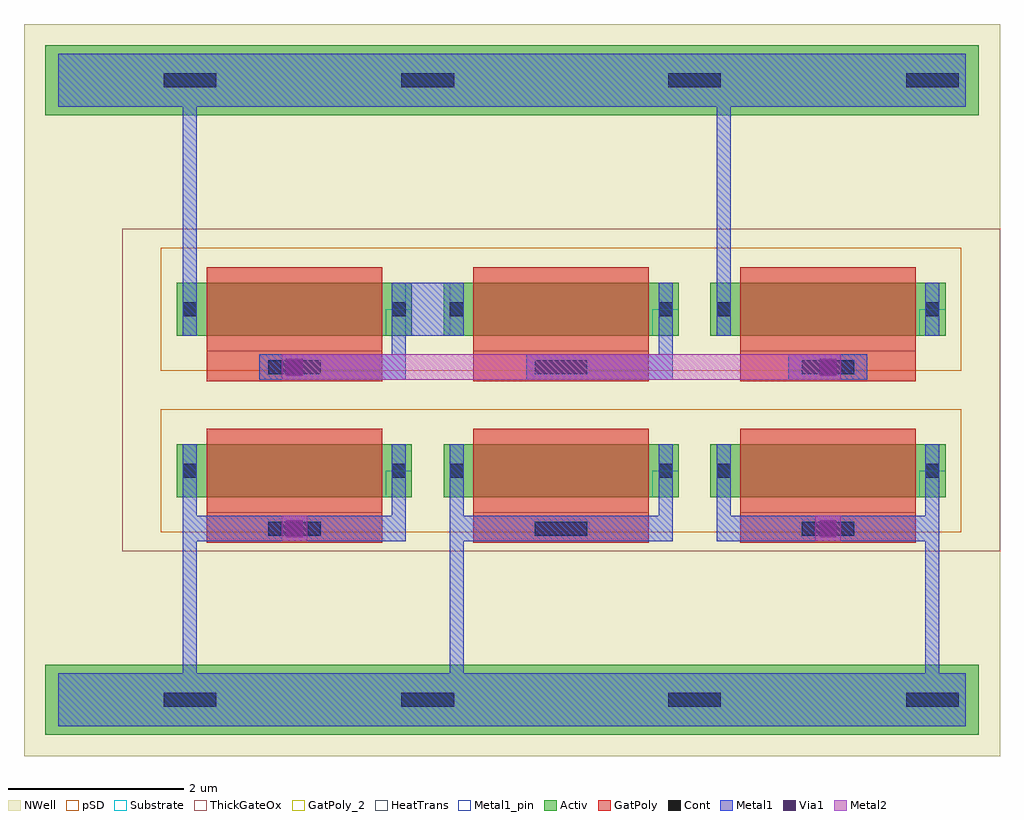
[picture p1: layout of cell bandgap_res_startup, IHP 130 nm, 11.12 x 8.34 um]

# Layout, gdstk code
import gdstk
lib = gdstk.Library(unit=1e-6, precision=1e-09)
def R(c, l, rs):  # rectangles x0, y0, x1, y1
    for r in rs: c.add(gdstk.rectangle(r[:2], r[2:], *l))
def A(c, l, x, y, w, h, nx, ny, dx, dy):  # array of equal rectangles
    R(c, l, [(x+i*dx, y+j*dy, x+i*dx+w, y+j*dy+h) for i in range(nx) for j in range(ny)])
Activ = (1, 0)
GatPoly = (5, 0)
GatPoly_2 = (5, 2)
Cont = (6, 0)
Metal1 = (8, 0)
Metal1_pin = (8, 2)
Metal2 = (10, 0)
pSD = (14, 0)
Via1 = (19, 0)
NWell = (31, 0)
Substrate = (40, 0)
ThickGateOx = (44, 0)
HeatTrans = (51, 0)

pmoshv_6 = lib.new_cell('pmosHV$6')
R(pmoshv_6, Activ, [(0,0,0.3,0.3), (0,0,2.68,0.6), (2.38,0,2.68,0.3)])
R(pmoshv_6, GatPoly, [(0.34,-0.18,2.34,0.78)])
R(pmoshv_6, GatPoly_2, [(0.34,-0.18,2.34,0.78)])
R(pmoshv_6, Cont, [(0.07,0.22,0.23,0.38), (2.45,0.22,2.61,0.38)])
R(pmoshv_6, Metal1, [(0.07,0,0.23,0.6), (2.45,0,2.61,0.6)])
R(pmoshv_6, Metal1_pin, [(0.07,0,0.23,0.6), (2.45,0,2.61,0.6)])
R(pmoshv_6, pSD, [(-0.18,-0.4,2.86,1)])
R(pmoshv_6, NWell, [(-0.62,-0.62,3.3,1.22)])
R(pmoshv_6, Substrate, [(2.38,0,2.68,0.3)])
R(pmoshv_6, ThickGateOx, [(-0.62,-0.62,3.3,1.22)])
R(pmoshv_6, HeatTrans, [(0.34,-0.18,2.34,0.78)])
pmoshv_6.add(gdstk.Label('pmosHV', (1.34,0.3), layer=63, texttype=0))
pmoshv_6.add(gdstk.Label('pmos', (1.34,0.3), layer=51, texttype=0))

via_stack_1 = lib.new_cell('via_stack$1')
R(via_stack_1, Metal1, [(-0.145,-0.145,0.145,0.145)])
R(via_stack_1, Metal2, [(-0.145,-0.145,0.145,0.145)])
R(via_stack_1, Via1, [(-0.095,-0.095,0.095,0.095)])

bandgap_res_startup = lib.new_cell('bandgap_res_startup')
A(bandgap_res_startup, Cont, 2.78, 13.38, 0.6, 0.16, 3, 2, 3.04, 1.84)
R(bandgap_res_startup, Cont, [(1.59,11.43,2.19,11.59), (1.59,11.43,2.19,11.59), (4.3,11.43,4.9,11.59), (4.3,11.43,4.9,11.59), (7.34,11.43,7.94,11.59), (7.34,11.43,7.94,11.59), (10.05,11.43,10.65,11.59), (10.05,11.43,10.65,11.59), (1.59,18.49,2.19,18.65), (1.59,18.49,2.19,18.65), (4.3,18.49,4.9,18.65), (4.3,18.49,4.9,18.65), (7.34,18.49,7.94,18.65), (7.34,18.49,7.94,18.65), (10.05,18.49,10.65,18.65), (10.05,18.49,10.65,18.65)])
R(bandgap_res_startup, NWell, [(0,10.87,1.12,19.21), (1.12,10.87,11.12,13.2), (1.12,10.87,11.12,13.2), (1.12,16.88,11.12,19.21), (1.12,16.88,11.12,19.21)])
bandgap_res_startup.add(gdstk.FlexPath([(0.24,18.57),(10.88,18.57)], 0.8, ends="flush", simple_path=True, layer=1, datatype=0))  # Activ
bandgap_res_startup.add(gdstk.FlexPath([(0.24,11.51),(10.88,11.51)], 0.8, ends="flush", simple_path=True, layer=1, datatype=0))  # Activ
bandgap_res_startup.add(gdstk.FlexPath([(3.08,16.44),(3.08,15.14)], 2, ends="flush", simple_path=True, layer=5, datatype=0))  # GatPoly
bandgap_res_startup.add(gdstk.FlexPath([(6.12,16.44),(6.12,15.14)], 2, ends="flush", simple_path=True, layer=5, datatype=0))  # GatPoly
bandgap_res_startup.add(gdstk.FlexPath([(9.16,16.44),(9.16,15.14)], 2, ends="flush", simple_path=True, layer=5, datatype=0))  # GatPoly
bandgap_res_startup.add(gdstk.FlexPath([(3.08,14.6),(3.08,13.3)], 2, ends="flush", simple_path=True, layer=5, datatype=0))  # GatPoly
bandgap_res_startup.add(gdstk.FlexPath([(6.12,14.6),(6.12,13.3)], 2, ends="flush", simple_path=True, layer=5, datatype=0))  # GatPoly
bandgap_res_startup.add(gdstk.FlexPath([(9.16,14.6),(9.16,13.3)], 2, ends="flush", simple_path=True, layer=5, datatype=0))  # GatPoly
bandgap_res_startup.add(gdstk.FlexPath([(4.19,15.96),(5.01,15.96)], 0.6, ends="flush", simple_path=True, layer=8, datatype=0))  # Metal1
bandgap_res_startup.add(gdstk.FlexPath([(2.68,15.3),(4.35,15.3)], 0.29, ends="flush", simple_path=True, layer=8, datatype=0))  # Metal1
bandgap_res_startup.add(gdstk.FlexPath([(5.72,15.3),(7.39,15.3)], 0.29, ends="flush", simple_path=True, layer=8, datatype=0))  # Metal1
bandgap_res_startup.add(gdstk.FlexPath([(7.31,16.26),(7.31,15.155)], 0.16, ends="flush", simple_path=True, layer=8, datatype=0))  # Metal1
bandgap_res_startup.add(gdstk.FlexPath([(8.71,15.3),(9.61,15.3)], 0.29, ends="flush", simple_path=True, layer=8, datatype=0))  # Metal1
bandgap_res_startup.add(gdstk.FlexPath([(1.89,15.66),(1.89,18.87)], 0.16, ends="flush", simple_path=True, layer=8, datatype=0))  # Metal1
bandgap_res_startup.add(gdstk.FlexPath([(7.97,15.66),(7.97,18.87)], 0.16, ends="flush", simple_path=True, layer=8, datatype=0))  # Metal1
bandgap_res_startup.add(gdstk.FlexPath([(4.93,14.42),(4.93,11.21)], 0.16, ends="flush", simple_path=True, layer=8, datatype=0))  # Metal1
bandgap_res_startup.add(gdstk.FlexPath([(1.81,13.46),(4.35,13.46)], 0.29, ends="flush", simple_path=True, layer=8, datatype=0))  # Metal1
bandgap_res_startup.add(gdstk.FlexPath([(4.27,14.42),(4.27,13.315)], 0.16, ends="flush", simple_path=True, layer=8, datatype=0))  # Metal1
bandgap_res_startup.add(gdstk.FlexPath([(4.85,13.46),(7.39,13.46)], 0.29, ends="flush", simple_path=True, layer=8, datatype=0))  # Metal1
bandgap_res_startup.add(gdstk.FlexPath([(7.31,14.42),(7.31,13.315)], 0.16, ends="flush", simple_path=True, layer=8, datatype=0))  # Metal1
bandgap_res_startup.add(gdstk.FlexPath([(7.89,13.46),(10.43,13.46)], 0.29, ends="flush", simple_path=True, layer=8, datatype=0))  # Metal1
bandgap_res_startup.add(gdstk.FlexPath([(0.39,18.57),(10.73,18.57)], 0.6, ends="flush", simple_path=True, layer=8, datatype=0))  # Metal1
bandgap_res_startup.add(gdstk.FlexPath([(0.39,11.51),(10.73,11.51)], 0.6, ends="flush", simple_path=True, layer=8, datatype=0))  # Metal1
bandgap_res_startup.add(gdstk.FlexPath([(1.89,14.42),(1.89,11.21)], 0.16, ends="flush", simple_path=True, layer=8, datatype=0))  # Metal1
bandgap_res_startup.add(gdstk.FlexPath([(4.27,16.26),(4.27,15.155)], 0.16, ends="flush", simple_path=True, layer=8, datatype=0))  # Metal1
bandgap_res_startup.add(gdstk.FlexPath([(10.35,14.42),(10.35,11.21)], 0.16, ends="flush", simple_path=True, layer=8, datatype=0))  # Metal1
bandgap_res_startup.add(gdstk.FlexPath([(7.97,14.42),(7.97,13.315)], 0.16, ends="flush", simple_path=True, layer=8, datatype=0))  # Metal1
bandgap_res_startup.add(gdstk.FlexPath([(2.935,15.3),(9.305,15.3)], 0.29, ends="flush", simple_path=True, layer=10, datatype=0))  # Metal2
bandgap_res_startup.add(gdstk.Reference(pmoshv_6, (1.74,15.66)))
bandgap_res_startup.add(gdstk.Reference(pmoshv_6, (4.78,15.66)))
bandgap_res_startup.add(gdstk.Reference(pmoshv_6, (7.82,15.66)))
bandgap_res_startup.add(gdstk.Reference(via_stack_1, (3.08,15.3)))
bandgap_res_startup.add(gdstk.Reference(via_stack_1, (9.16,15.3)))
bandgap_res_startup.add(gdstk.Reference(pmoshv_6, (1.74,13.82)))
bandgap_res_startup.add(gdstk.Reference(pmoshv_6, (4.78,13.82)))
bandgap_res_startup.add(gdstk.Reference(pmoshv_6, (7.82,13.82)))
bandgap_res_startup.add(gdstk.Reference(via_stack_1, (3.08,13.46)))
bandgap_res_startup.add(gdstk.Reference(via_stack_1, (9.16,13.46)))

lib.write_gds('bandgap_res_startup.gds')
